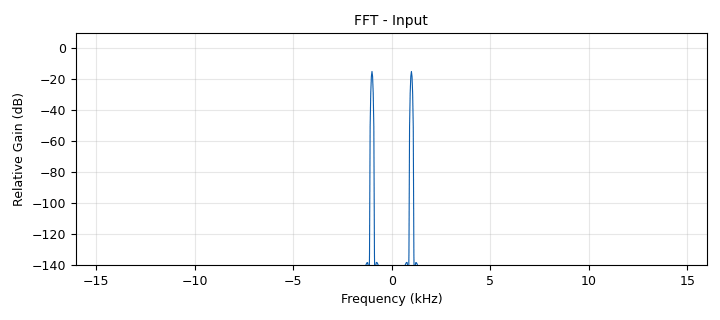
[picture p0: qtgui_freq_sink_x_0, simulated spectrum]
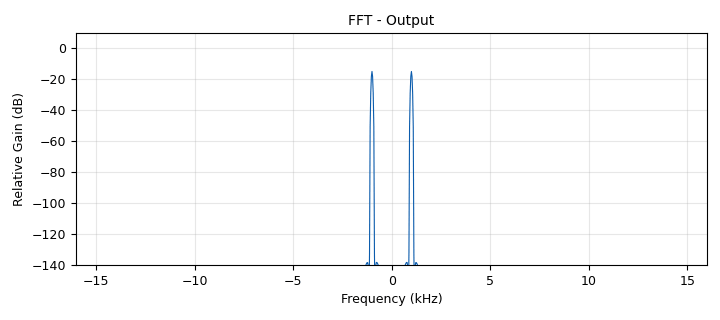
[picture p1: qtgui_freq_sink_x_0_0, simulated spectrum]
options:
  parameters:
    generate_options: qt_gui
    id: gain_CH7
    output_language: python
    title: Not titled yet
  states: {}

blocks:
- name: gain
  id: variable_qtgui_range
  parameters:
    min_len: '100'
    orient: Qt.Horizontal
    start: '0'
    step: '1'
    stop: '100'
    value: '1'
  states: {}
- name: samp_rate
  id: variable
  parameters:
    value: '32000'
  states: {}
- name: analog_sig_source_x_0
  id: analog_sig_source_x
  parameters:
    amp: '1'
    freq: '1000'
    offset: '0'
    phase: '0'
    samp_rate: samp_rate
    type: float
    waveform: analog.GR_COS_WAVE
  states: {}
- name: blocks_multiply_const_vxx_0
  id: blocks_multiply_const_vxx
  parameters:
    const: gain
    type: float
  states: {}
- name: blocks_throttle_0
  id: blocks_throttle
  parameters:
    samples_per_second: samp_rate
    type: float
  states: {}
- name: qtgui_freq_sink_x_0
  id: qtgui_freq_sink_x
  parameters:
    bw: samp_rate
    fc: '0'
    fftsize: '1024'
    name: FFT - Input
    type: float
    wintype: firdes.WIN_BLACKMAN_hARRIS
  states: {}
- name: qtgui_freq_sink_x_0_0
  id: qtgui_freq_sink_x
  parameters:
    bw: samp_rate
    fc: '0'
    fftsize: '1024'
    name: FFT - Output
    type: float
    wintype: firdes.WIN_BLACKMAN_hARRIS
  states: {}
- name: qtgui_time_sink_x_0
  id: qtgui_time_sink_x
  parameters:
    name: Input
    size: '1024'
    srate: samp_rate
    type: float
  states: {state: disabled}
- name: qtgui_time_sink_x_0_0
  id: qtgui_time_sink_x
  parameters:
    name: Output
    size: '1024'
    srate: samp_rate
    type: float
  states: {state: disabled}

connections:
- [analog_sig_source_x_0, '0', blocks_throttle_0, '0']
- [blocks_multiply_const_vxx_0, '0', qtgui_freq_sink_x_0_0, '0']
- [blocks_multiply_const_vxx_0, '0', qtgui_time_sink_x_0_0, '0']
- [blocks_throttle_0, '0', blocks_multiply_const_vxx_0, '0']
- [blocks_throttle_0, '0', qtgui_freq_sink_x_0, '0']
- [blocks_throttle_0, '0', qtgui_time_sink_x_0, '0']

metadata:
  file_format: 1
